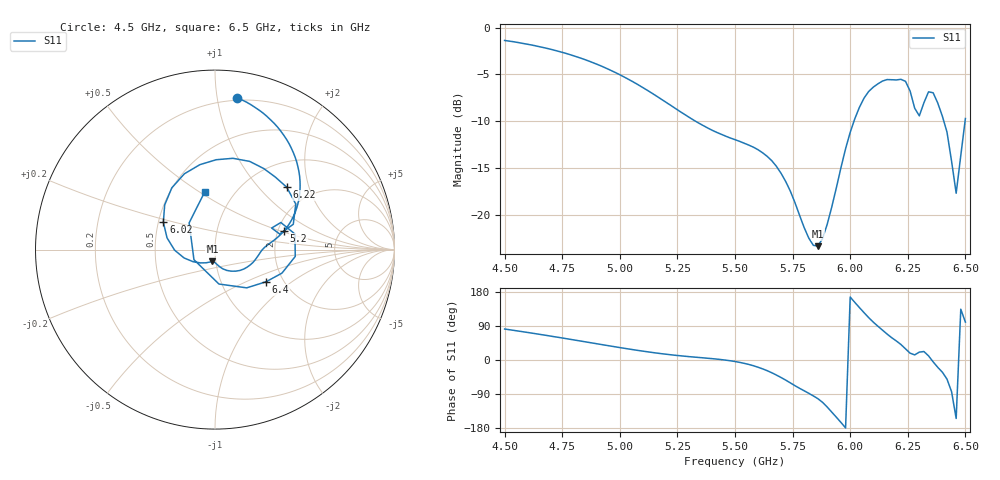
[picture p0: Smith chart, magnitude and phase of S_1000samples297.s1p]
! TOUCHSTONE file generated by CST MICROWAVE STUDIO
! Date and time: Thu Oct 27 16:30:52 2022
! Project name: L.cst
! Parameters = {Di=1.27; Epsilon_r=1.56; InnerDiameter=1.27; Length=2; Lf=10; Lg=60; OuterConductorThickness=0.2921; OuterDiameter=3.6; Wf=3; Wp=41.2; de=1.5; df=6.8; g=0.8; gx=1.81252; gy=3.50393; h=2.34; hf=1.524; px=13.0043; py=11.271; w=9.7; wx=11.1918; wy=7.76711}
! Header version: 2018
! Port assignment regex: !\s*Touchstone port\s*([0-9]+)\s*=\s*(CST MWS port|CST DS port)\s*([0-9]+|Zmin|Zmax)\s*\(\"(.*)\"\)(\s*mode\s*([0-9]+))?.*
! Touchstone port assignment:
! Touchstone port 1 = CST MWS port 1 ("")
# GHz S DB R 50
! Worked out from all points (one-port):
!   101 points, 4.5 GHz to 6.5 GHz, reference 50 ohm
!   lowest |S11| = -23.4 dB at 5.86 GHz (marker M1), VSWR 1.15, Z = 48.2 - j6.41 ohm
!   |S11| at or under -10 dB: 5.328 GHz to 6.016 GHz (688.2 MHz wide, 12.1 % of centre); 6.406 GHz to 6.499 GHz (92.22 MHz wide, 1.43 % of centre)
!   S11 on the Smith chart (normalised r, x): 4.5 GHz: 0.18, +1.14; 5.2 GHz: 2.16, +0.54; 6.02 GHz: 0.53, +0.18; 6.22 GHz: 1.49, +1.44; 6.4 GHz: 1.63, -0.66; 6.5 GHz: 0.73, +0.53
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4.5  -1.36 81.7
4.76  -2.70 57.1
5  -5.03 32.8
5.2  -7.97 15.3
5.26  -8.94 11.3
5.5  -11.98 -4.0
5.66  -14.24 -33.8
5.76  -18.70 -67.7
5.82  -22.51 -87.8
5.86  -23.38 -102.2
5.9  -21.05 -124.0
5.94  -17.12 -151.0
6  -11.20 166.2
6.02  -9.74 152.0
6.06  -7.54 125.0
6.12  -6.01 89.3
6.16  -5.55 68.5
6.22  -5.52 41.0
6.26  -6.77 17.9
6.28  -8.62 13.5
6.3  -9.43 20.8
6.32  -8.03 22.4
6.36  -6.96 -4.9
6.4  -9.46 -32.2
6.44  -14.29 -83.5
6.46  -17.72 -154.3
6.48  -13.68 134.1
6.5  -9.72 100.1
